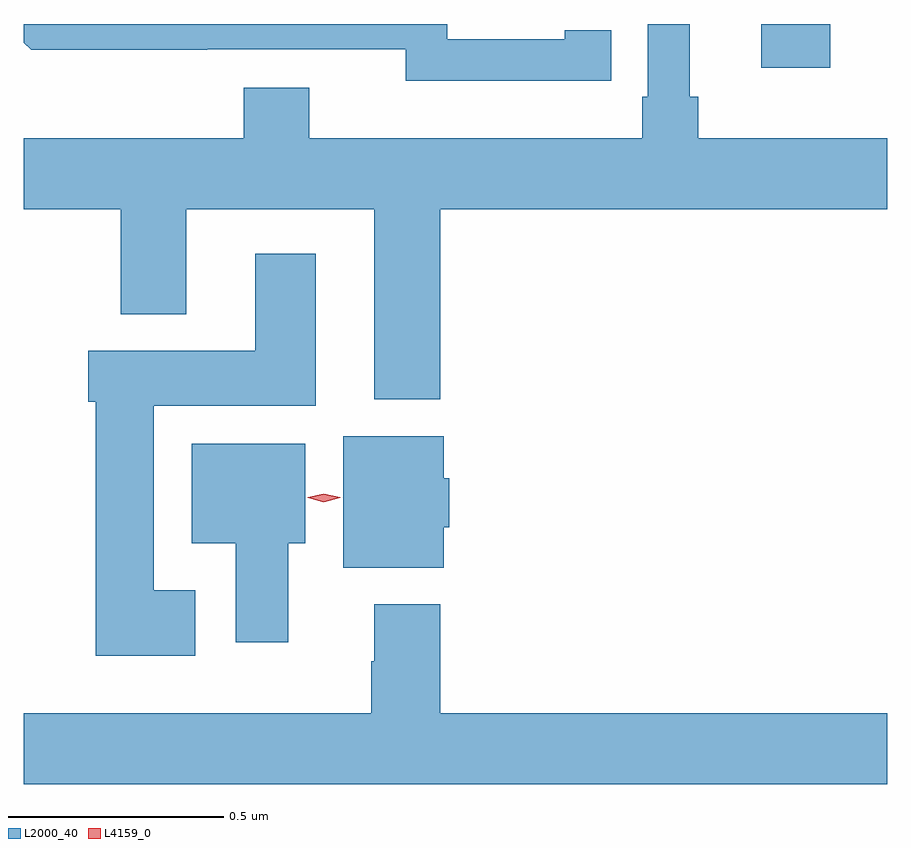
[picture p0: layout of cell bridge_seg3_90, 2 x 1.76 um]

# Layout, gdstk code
import gdstk
lib = gdstk.Library(unit=1e-6, precision=1e-09)
def R(c, l, rs):  # rectangles x0, y0, x1, y1
    for r in rs: c.add(gdstk.rectangle(r[:2], r[2:], *l))
def P(c, l, *ps):  # polygons
    for p in ps: c.add(gdstk.Polygon(p, *l))
L2000_40 = (2000, 40)
L4159_0 = (4159, 0)

bridge_seg3_90 = lib.new_cell('bridge_seg3_90')
R(bridge_seg3_90, L2000_40, [(419.306,722.556,419.465,722.657)])
P(bridge_seg3_90, L2000_40, [(418.562,722.228),(419.597,722.228),(419.597,722.392),(419.159,722.392),(419.159,722.488),(419.14,722.488),(419.14,722.657),(419.043,722.657),(419.043,722.488),(419.03,722.488),(419.03,722.392),(418.258,722.392),(418.258,722.509),(418.106,722.509),(418.106,722.392),(417.597,722.392),(417.597,722.228),(417.821,722.228),(417.821,721.985),(417.973,721.985),(417.973,722.228),(418.409,722.228),(418.409,721.787),(418.562,721.787)],
  [(418.85,722.526),(418.958,722.526),(418.958,722.642),(418.85,722.642),(418.85,722.622),(418.578,722.622),(418.578,722.657),(417.597,722.657),(417.597,722.614),(417.614,722.597),(418.022,722.597),(418.022,722.598),(418.482,722.598),(418.482,722.525),(418.85,722.525)],
  [(417.994,721.345),(417.898,721.345),(417.898,721.772),(418.273,721.772),(418.273,722.125),(418.133,722.125),(418.133,721.9),(417.746,721.9),(417.746,721.782),(417.764,721.782),(417.764,721.193),(417.994,721.193)],
  [(418.57,721.491),(418.582,721.491),(418.582,721.605),(418.57,721.605),(418.57,721.702),(418.337,721.702),(418.337,721.397),(418.57,721.397)],
  [(418.21,721.454),(418.249,721.454),(418.249,721.684),(417.986,721.684),(417.986,721.454),(418.088,721.454),(418.088,721.224),(418.21,721.224)],
  [(419.597,721.06),(418.562,721.06),(418.562,721.312),(418.409,721.312),(418.409,721.181),(418.402,721.181),(418.402,721.06),(417.597,721.06),(417.597,720.896),(419.597,720.896)])
P(bridge_seg3_90, L4159_0, [(418.292,721.549),(418.255,721.559),(418.255,721.559),(418.255,721.56),(418.292,721.569),(418.33,721.56),(418.33,721.559),(418.33,721.559)])

lib.write_gds('bridge_seg3_90.gds')
